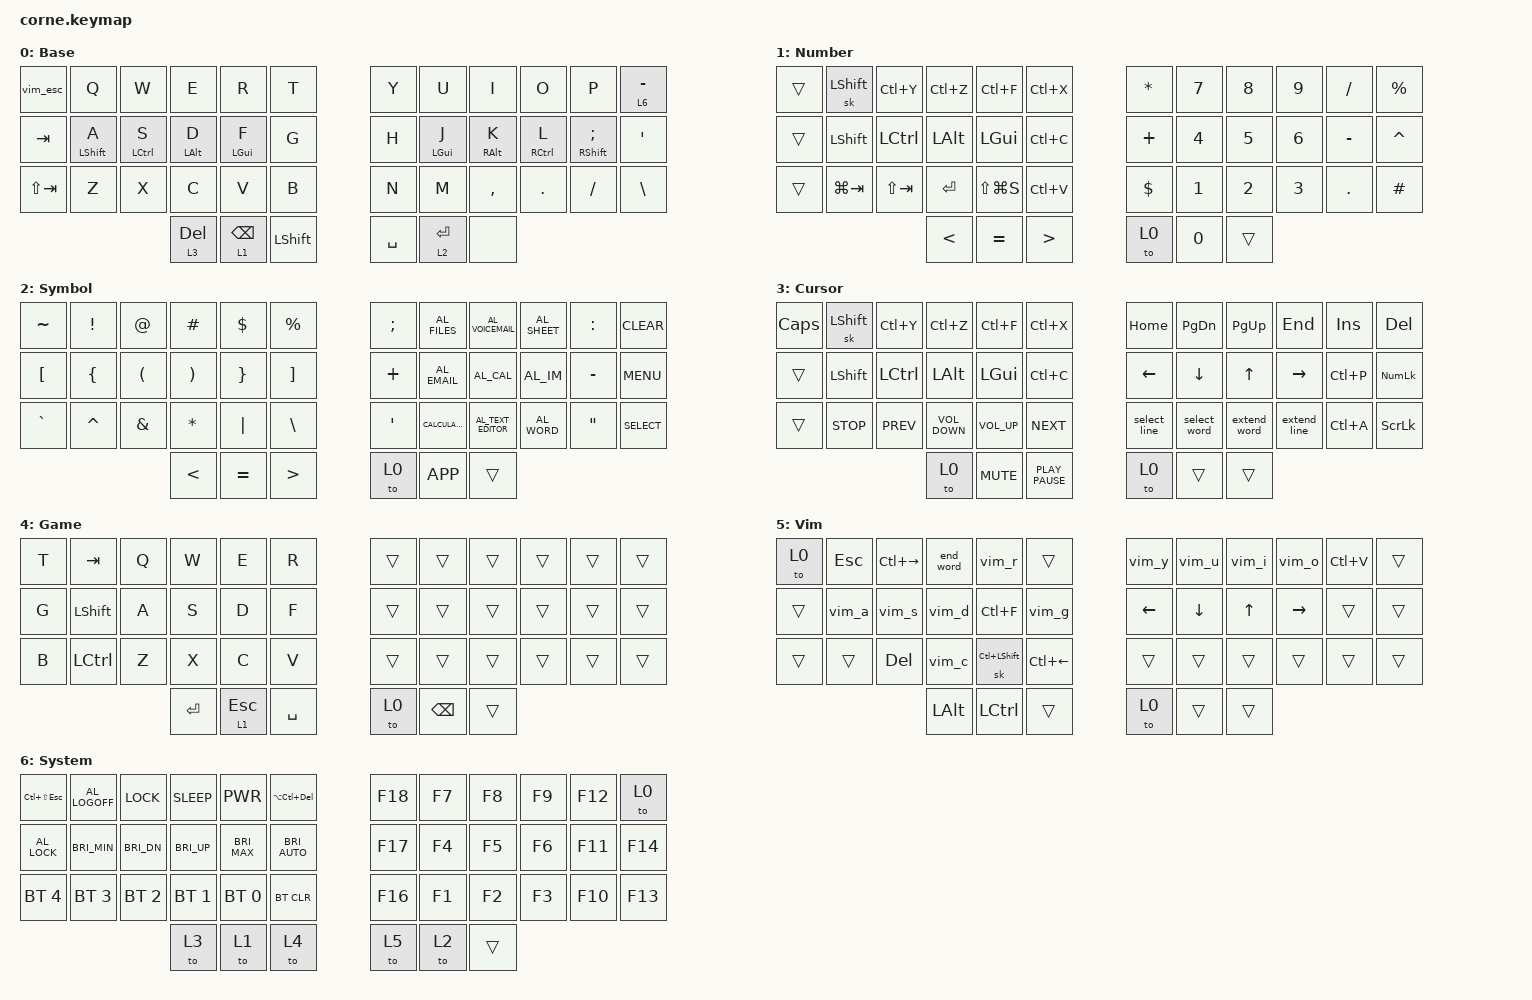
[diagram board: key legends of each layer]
/*
 * Copyright (c) 2020 The ZMK Contributors
 *
 * SPDX-License-Identifier: MIT
 */

#include <dt-bindings/zmk/modifiers.h>
#include <dt-bindings/zmk/behaviors.h>
#include <behaviors.dtsi>
#include <dt-bindings/zmk/bt.h>
#include <dt-bindings/zmk/keys.h>

/ {
    behaviors {
        my_lt: my_layer_tap {
            compatible = "zmk,behavior-hold-tap";
            #binding-cells = <2>;
            flavor = "hold-preferred";
            tapping-term-ms = <200>;
            bindings = <&mo>, <&kp>;

            display-name = "Hold-Pref LT";
        };

        hml: hml {
            compatible = "zmk,behavior-hold-tap";
            #binding-cells = <2>;
            flavor = "balanced";
            tapping-term-ms = <280>;
            bindings = <&kp>, <&kp>;

            display-name = "Hold-Pref LT";
            label = "home_row_mod_left";
            quick-tap-ms = <175>;
            require-prior-idle-ms = <150>;
            hold-trigger-on-release;
            hold-trigger-key-positions = <6 18 30 7 19 31 8 9 10 20 21 22 32 33 34 39 40 41 11 23 35>;
        };

        hmr: hmr {
            compatible = "zmk,behavior-hold-tap";
            #binding-cells = <2>;
            flavor = "balanced";
            tapping-term-ms = <280>;
            bindings = <&kp>, <&kp>;

            display-name = "Hold-Pref LT";
            label = "home_row_mod_right";
            quick-tap-ms = <175>;
            require-prior-idle-ms = <150>;
            hold-trigger-on-release;
            hold-trigger-key-positions = <0 1 2 3 4 5 12 13 14 15 16 17 24 25 26 27 28 29 36 37 38>;
        };

        select_word: select_word {
            compatible = "zmk,behavior-mod-morph";
            label = "SELECT_WORD";
            bindings = <&select_word_right>, <&select_word_left>;

            #binding-cells = <0>;
            mods = <(MOD_LSFT|MOD_RSFT)>;
        };

        extend_word: extend_word {
            compatible = "zmk,behavior-mod-morph";
            label = "EXTEND_WORD";
            bindings = <&extend_word_right>, <&extend_word_left>;

            #binding-cells = <0>;
            mods = <(MOD_LSFT|MOD_RSFT)>;
        };

        select_line: select_line {
            compatible = "zmk,behavior-mod-morph";
            label = "SELECT_LINE";
            bindings = <&select_line_right>, <&select_line_left>;

            #binding-cells = <0>;
            mods = <(MOD_LSFT|MOD_RSFT)>;
        };

        extend_line: extend_line {
            compatible = "zmk,behavior-mod-morph";
            label = "EXTEND_LINE";
            bindings = <&extend_line_right>, <&extend_line_left>;

            #binding-cells = <0>;
            mods = <(MOD_LSFT|MOD_RSFT)>;
        };

        vim_a: vim_a {
            compatible = "zmk,behavior-mod-morph";
            label = "VIM_A";
            bindings = <&append_word>, <&append_line>;

            #binding-cells = <0>;
            mods = <(MOD_LSFT|MOD_RSFT)>;
        };

        dd: dd {
            compatible = "zmk,behavior-tap-dance";
            label = "DD";
            #binding-cells = <0>;
            bindings = <&kp BACKSPACE>, <&delete_line>;
        };

        vim_r: vim_r {
            compatible = "zmk,behavior-mod-morph";
            label = "VIM_R";
            bindings = <&replace>, <&replace_shift>;

            #binding-cells = <0>;
            mods = <(MOD_LSFT|MOD_RSFT)>;
        };

        vim_g: vim_g {
            compatible = "zmk,behavior-mod-morph";
            label = "VIM_G";
            bindings = <&gg>, <&kp LC(END)>;

            #binding-cells = <0>;
            mods = <(MOD_LSFT|MOD_RSFT)>;
        };

        gg: gg {
            compatible = "zmk,behavior-tap-dance";
            label = "GG";
            #binding-cells = <0>;
            bindings = <&none>, <&kp LC(HOME)>;
        };

        vim_y: vim_y {
            compatible = "zmk,behavior-tap-dance";
            label = "VIM_Y";
            #binding-cells = <0>;
            bindings = <&kp LC(C)>, <&yank_line>;
        };

        vim_i: vim_i {
            compatible = "zmk,behavior-mod-morph";
            label = "VIM_I";
            bindings = <&to 0>, <&insert_line>;

            #binding-cells = <0>;
            mods = <(MOD_LSFT|MOD_RSFT)>;
        };

        vim_d: vim_d {
            compatible = "zmk,behavior-mod-morph";
            label = "VIM_D";
            bindings = <&dd>, <&kp PG_DN>;

            #binding-cells = <0>;
            mods = <(MOD_LCTL|MOD_RCTL)>;
        };

        vim_o: vim_o {
            compatible = "zmk,behavior-mod-morph";
            label = "VIM_O";
            bindings = <&new_line_below>, <&new_line_above>;

            #binding-cells = <0>;
            mods = <(MOD_LSFT|MOD_RSFT)>;
        };

        vim_u: vim_u {
            compatible = "zmk,behavior-mod-morph";
            label = "VIM_U";
            bindings = <&kp LC(Z)>, <&kp PG_UP>;

            #binding-cells = <0>;
            mods = <(MOD_LCTL|MOD_RCTL)>;
        };

        vim_esc: vim_esc {
            compatible = "zmk,behavior-mod-morph";
            label = "VIM_ESC";
            bindings = <&kp ESC>, <&to 5>;

            #binding-cells = <0>;
            mods = <(MOD_LSFT|MOD_RSFT)>;
        };

        vim_s: vim_s {
            compatible = "zmk,behavior-mod-morph";
            label = "VIM_S";
            bindings = <&substitute_char>, <&substitute_line>;

            #binding-cells = <0>;
            mods = <(MOD_LSFT|MOD_RSFT)>;
        };

        change_line: change_line {
            compatible = "zmk,behavior-tap-dance";
            label = "CHANGE_LINE";
            #binding-cells = <0>;
            bindings = <&none>, <&change>;
        };

        vim_c: vim_c {
            compatible = "zmk,behavior-mod-morph";
            label = "VIM_C";
            bindings = <&change_line>, <&change_line_end>;

            #binding-cells = <0>;
            mods = <(MOD_LSFT|MOD_RSFT)>;
        };
    };
};

/ {
    macros {
        select_word_left: select_word_left {
            compatible = "zmk,behavior-macro";
            #binding-cells = <0>;
            bindings = <&kp LC(LEFT) &kp LC(RIGHT) &kp LC(LS(LEFT))>;
            label = "SELECT_WORD_LEFT";
            wait-ms = <1>;
            tap-ms = <1>;
        };

        select_word_right: select_word_right {
            compatible = "zmk,behavior-macro";
            #binding-cells = <0>;
            bindings = <&kp LC(RIGHT) &kp LC(LEFT) &kp LC(LS(RIGHT))>;
            label = "SELECT_WORD_RIGHT";
            wait-ms = <1>;
            tap-ms = <1>;
        };

        extend_word_left: extend_word_left {
            compatible = "zmk,behavior-macro";
            #binding-cells = <0>;
            bindings = <&kp LC(LS(LEFT))>;
            label = "EXTEND_WORD_LEFT";
            wait-ms = <1>;
            tap-ms = <1>;
        };

        extend_word_right: extend_word_right {
            compatible = "zmk,behavior-macro";
            #binding-cells = <0>;
            bindings = <&kp LC(LS(RIGHT))>;
            label = "EXTEND_WORD_RIGHT";
            wait-ms = <1>;
            tap-ms = <1>;
        };

        select_line_left: select_line_left {
            compatible = "zmk,behavior-macro";
            #binding-cells = <0>;
            bindings = <&kp END &kp LS(HOME)>;
            label = "SELECT_LINE_LEFT";
            wait-ms = <1>;
            tap-ms = <1>;
        };

        select_line_right: select_line_right {
            compatible = "zmk,behavior-macro";
            #binding-cells = <0>;
            bindings = <&kp HOME &kp LS(END)>;
            label = "SELECT_LINE_RIGHT";
            wait-ms = <1>;
            tap-ms = <1>;
        };

        select_all: select_all {
            compatible = "zmk,behavior-macro";
            #binding-cells = <0>;
            bindings = <&kp LC(A)>;
            label = "SELECT_ALL";
        };

        extend_line_left: extend_line_left {
            compatible = "zmk,behavior-macro";
            #binding-cells = <0>;
            bindings = <&kp LS(UP) &kp LS(HOME)>;
            label = "EXTEND_LINE_LEFT";
            wait-ms = <1>;
            tap-ms = <1>;
        };

        extend_line_right: extend_line_right {
            compatible = "zmk,behavior-macro";
            #binding-cells = <0>;
            bindings = <&kp LS(DOWN) &kp LS(END)>;
            label = "EXTEND_LINE_RIGHT";
            wait-ms = <1>;
            tap-ms = <1>;
        };

        append_line: append_line {
            compatible = "zmk,behavior-macro";
            #binding-cells = <0>;
            bindings = <&kp END &to 0>;
            label = "APPEND_LINE";
        };

        append_word: append_word {
            compatible = "zmk,behavior-macro";
            #binding-cells = <0>;
            bindings = <&end_word &to 0>;
            label = "APPEND_WORD";
        };

        delete_line: delete_line {
            compatible = "zmk,behavior-macro";
            #binding-cells = <0>;
            bindings = <&select_line &kp BACKSPACE>;
            label = "DELETE_LINE";
        };

        end_word: end_word {
            compatible = "zmk,behavior-macro";
            #binding-cells = <0>;
            bindings = <&kp LC(RIGHT) &kp LEFT &kp LEFT>;
            label = "END_WORD";
        };

        replace: replace {
            compatible = "zmk,behavior-macro";
            #binding-cells = <0>;
            bindings = <&kp DEL &to 0>;
            label = "REPLACE";
        };

        replace_shift: replace_shift {
            compatible = "zmk,behavior-macro";
            #binding-cells = <0>;
            bindings = <&kp INS &to 0>;
            label = "REPLACE_SHIFT";
        };

        insert_line: insert_line {
            compatible = "zmk,behavior-macro";
            #binding-cells = <0>;
            bindings = <&kp HOME &to 0>;
            label = "INSERT_LINE";
        };

        yank_line: yank_line {
            compatible = "zmk,behavior-macro";
            #binding-cells = <0>;
            bindings = <&select_line_right &kp LC(C)>;
            label = "YANK_LINE";
        };

        new_line_below: new_line_below {
            compatible = "zmk,behavior-macro";
            #binding-cells = <0>;
            bindings = <&kp END &kp ENTER &to 0>;
            label = "NEW_LINE_BELOW";
        };

        new_line_above: new_line_above {
            compatible = "zmk,behavior-macro";
            #binding-cells = <0>;
            bindings = <&kp HOME &kp ENTER &kp UP &to 0>;
            label = "NEW_LINE_ABOVE";
        };

        substitute_char: substitute_char {
            compatible = "zmk,behavior-macro";
            #binding-cells = <0>;
            bindings = <&kp DEL &to 0>;
            label = "SUBSTITUTE_CHAR";
        };

        substitute_line: substitute_line {
            compatible = "zmk,behavior-macro";
            #binding-cells = <0>;
            bindings = <&select_line &kp BACKSPACE &to 0>;
            label = "SUBSTITUTE_LINE";
        };

        change: change {
            compatible = "zmk,behavior-macro";
            #binding-cells = <0>;
            bindings = <&delete_line &to 0>;
            label = "CHANGE";
        };

        select_line_end: select_line_end {
            compatible = "zmk,behavior-macro";
            #binding-cells = <0>;
            bindings = <&kp LS(END)>;
            label = "SELECT_LINE_END";
            wait-ms = <1>;
            tap-ms = <1>;
        };

        delete_line_end: delete_line_end {
            compatible = "zmk,behavior-macro";
            #binding-cells = <0>;
            bindings = <&select_line_end &kp BACKSPACE>;
            label = "DELETE_LINE_END";
        };

        change_line_end: change_line_end {
            compatible = "zmk,behavior-macro";
            #binding-cells = <0>;
            bindings = <&delete_line_end &to 0>;
            label = "CHANGE_LINE_END";
        };
    };

    keymap {
        compatible = "zmk,keymap";

        base {
            display-name = "Base";
            bindings = <
&vim_esc     &kp Q          &kp W         &kp E         &kp R          &kp T        &kp Y      &kp U         &kp I        &kp O         &kp P             &my_lt 6 MINUS
&kp TAB      &hml LSHIFT A  &hml LCTRL S  &hml LALT D   &hml LGUI F    &kp G        &kp H      &hmr LGUI J   &hmr RALT K  &hmr RCTRL L  &hmr RSHIFT SEMI  &kp SQT
&kp LS(TAB)  &kp Z          &kp X         &kp C         &kp V          &kp B        &kp N      &kp M         &kp COMMA    &kp DOT       &kp FSLH          &kp BSLH
                                          &my_lt 3 DEL  &my_lt 1 BSPC  &kp LSHFT    &kp SPACE  &my_lt 2 RET  &none
            >;
        };

        number {
            display-name = "Number";
            bindings = <
&trans  &sk LSHIFT   &kp LC(Y)    &kp LC(Z)  &kp LC(F)      &kp LC(X)    &kp STAR  &kp N7  &kp N8  &kp N9  &kp FSLH   &kp PRCNT
&trans  &kp LSHIFT   &kp LCTRL    &kp LALT   &kp LGUI       &kp LC(C)    &kp PLUS  &kp N4  &kp N5  &kp N6  &kp MINUS  &kp CARET
&trans  &kp LG(TAB)  &kp LS(TAB)  &kp RET    &kp LS(LG(S))  &kp LC(V)    &kp DLLR  &kp N1  &kp N2  &kp N3  &kp DOT    &kp HASH
                                  &kp LT     &kp EQUAL      &kp GT       &to 0     &kp N0  &trans
            >;
        };

        symbol {
            display-name = "Symbol";
            bindings = <
&kp TILDE  &kp EXCL   &kp AT    &kp HASH  &kp DLLR   &kp PRCNT    &kp SEMI  &kp C_AL_FILES    &kp C_AL_VOICEMAIL    &kp C_AL_SHEET  &kp COLON  &kp CLEAR
&kp LBKT   &kp LBRC   &kp LPAR  &kp RPAR  &kp RBRC   &kp RBKT     &kp PLUS  &kp C_AL_EMAIL    &kp C_AL_CAL          &kp C_AL_IM     &kp MINUS  &kp K_MENU
&kp GRAVE  &kp CARET  &kp AMPS  &kp STAR  &kp PIPE   &kp BSLH     &kp SQT   &kp K_CALCULATOR  &kp C_AL_TEXT_EDITOR  &kp C_AL_WORD   &kp DQT    &kp K_SELECT
                                &kp LT    &kp EQUAL  &kp GT       &to 0     &kp K_APP         &trans
            >;
        };

        cursor {
            display-name = "Cursor";
            bindings = <
&kp CAPS  &sk LSHIFT  &kp LC(Y)   &kp LC(Z)          &kp LC(F)        &kp LC(X)           &kp HOME      &kp PG_DN     &kp PG_UP     &kp END       &kp INS    &kp DELETE
&trans    &kp LSHIFT  &kp LCTRL   &kp LALT           &kp LGUI         &kp LC(C)           &kp LEFT      &kp DOWN      &kp UP        &kp RIGHT     &kp LC(P)  &kp KP_NLCK
&trans    &kp K_STOP  &kp K_PREV  &kp K_VOLUME_DOWN  &kp K_VOLUME_UP  &kp K_NEXT          &select_line  &select_word  &extend_word  &extend_line  &kp LC(A)  &kp SLCK
                                  &to 0              &kp K_MUTE       &kp K_PLAY_PAUSE    &to 0         &trans        &trans
            >;
        };

        game {
            display-name = "Game";
            bindings = <
&kp T  &kp TAB     &kp Q  &kp W    &kp E         &kp R        &trans  &trans    &trans  &trans  &trans  &trans
&kp G  &kp LSHIFT  &kp A  &kp S    &kp D         &kp F        &trans  &trans    &trans  &trans  &trans  &trans
&kp B  &kp LCTRL   &kp Z  &kp X    &kp C         &kp V        &trans  &trans    &trans  &trans  &trans  &trans
                          &kp RET  &my_lt 1 ESC  &kp SPACE    &to 0   &kp BSPC  &trans
            >;
        };

        vim {
            display-name = "Vim";
            bindings = <
&to 0   &kp ESC  &kp LC(RIGHT)  &end_word  &vim_r              &trans          &vim_y    &vim_u    &vim_i  &vim_o     &kp LC(V)  &trans
&trans  &vim_a   &vim_s         &vim_d     &kp LC(F)           &vim_g          &kp LEFT  &kp DOWN  &kp UP  &kp RIGHT  &trans     &trans
&trans  &trans   &kp DEL        &vim_c     &sk LC(LEFT_SHIFT)  &kp LC(LEFT)    &trans    &trans    &trans  &trans     &trans     &trans
                                &kp LALT   &kp LCTRL           &trans          &to 0     &trans    &trans
            >;
        };

        system {
            display-name = "System";
            bindings = <
&kp LC(LS(ESC))  &kp C_AL_LOGOFF  &kp K_LOCK    &kp K_SLEEP   &kp K_PWR      &kp LA(LC(DEL))    &kp F18  &kp F7  &kp F8  &kp F9  &kp F12  &to 0
&kp C_AL_LOCK    &kp C_BRI_MIN    &kp C_BRI_DN  &kp C_BRI_UP  &kp C_BRI_MAX  &kp C_BRI_AUTO     &kp F17  &kp F4  &kp F5  &kp F6  &kp F11  &kp F14
&bt BT_SEL 4     &bt BT_SEL 3     &bt BT_SEL 2  &bt BT_SEL 1  &bt BT_SEL 0   &bt BT_CLR         &kp F16  &kp F1  &kp F2  &kp F3  &kp F10  &kp F13
                                                &to 3         &to 1          &to 4              &to 5    &to 2   &trans
            >;
        };
    };
};
